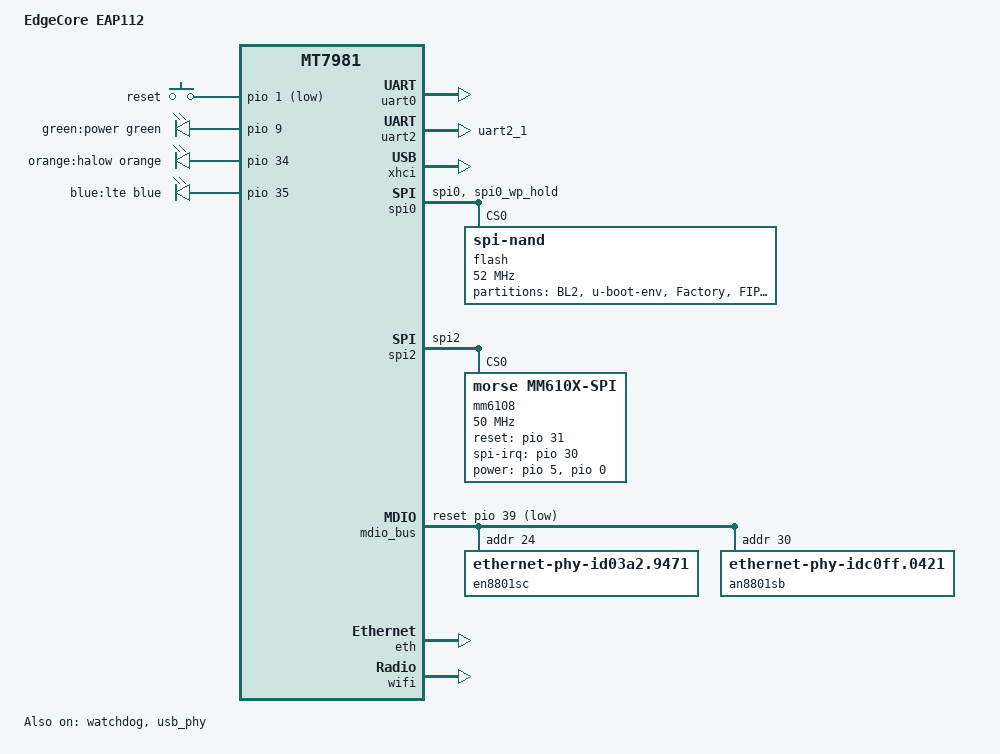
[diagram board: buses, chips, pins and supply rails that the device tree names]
// SPDX-License-Identifier: GPL-2.0-or-later OR MIT

/dts-v1/;

#include <dt-bindings/leds/common.h>
#include "mt7981.dtsi"

/ {
	model = "EdgeCore EAP112";
	compatible = "edgecore,eap112", "mediatek,mt7981";

	aliases {
		serial0 = &uart0;
		led-boot = &led_green;
		led-failsafe = &led_green;
		led-running = &led_green;
		led-upgrade = &led_green;
		label-mac-device = &gmac1;
	};

	chosen {
		stdout-path = "serial0:115200n8";
	};

	gpio-keys {
		compatible = "gpio-keys";

		reset {
			label = "reset";
			linux,code = <KEY_RESTART>;
			gpios = <&pio 1 GPIO_ACTIVE_LOW>;
		};
	};

	leds {
		compatible = "gpio-leds";

		led_green: led-green {
			label = "green:power";
			gpios = <&pio 9 GPIO_ACTIVE_HIGH>;
			color = <LED_COLOR_ID_GREEN>;
			function = LED_FUNCTION_INDICATOR;
		};

		led_orange: led-orange {
			label = "orange:halow";
			gpios = <&pio 34 GPIO_ACTIVE_HIGH>;
			color = <LED_COLOR_ID_ORANGE>;
			function = LED_FUNCTION_INDICATOR;
		};

		led_blue: led-blue {
			label = "blue:lte";
			gpios = <&pio 35 GPIO_ACTIVE_HIGH>;
			color = <LED_COLOR_ID_BLUE>;
			function = LED_FUNCTION_INDICATOR;
		};
	};
};

&uart0 {
	status = "okay";
};

&uart2 {
	pinctrl-names = "default";
	pinctrl-0 = <&uart2_pins>;
	status = "okay";
};

&watchdog {
	status = "okay";
};

/* LTE modem on the SoC USB port. mt7981.dtsi leaves the PHY and the xHCI
 * controller disabled. The modem power and reset lines are driven from
 * userspace (board.d/03_gpio_switches).
 */
&usb_phy {
	status = "okay";
};

&xhci {
	status = "okay";
};

&pio {
	spi0_flash_pins: spi0-pins {
		mux {
			function = "spi";
			groups = "spi0", "spi0_wp_hold";
		};
	};

	/* Only CS/CLK/MOSI/MISO (GPIO 26-29) go to SPI2; GPIO 30 and 31 are the
	 * MM6108 interrupt and reset lines, so "spi2_wp_hold" is not selected.
	 */
	spi2_pins: spi2-pins {
		mux {
			function = "spi";
			groups = "spi2";
		};
	};

	uart2_pins: uart2-pins {
		mux {
			function = "uart";
			groups = "uart2_1";
		};
	};
};

&spi0 {
	pinctrl-names = "default";
	pinctrl-0 = <&spi0_flash_pins>;
	cs-gpios = <0>, <0>;
	#address-cells = <1>;
	#size-cells = <0>;
	status = "okay";

	flash@0 {
		#address-cells = <1>;
		#size-cells = <1>;
		compatible = "spi-nand";
		reg = <0>;
		spi-max-frequency = <52000000>;

		spi-cal-enable;
		spi-cal-mode = "read-data";
		spi-cal-datalen = <7>;
		spi-cal-data = /bits/ 8 <0x53 0x50 0x49 0x4E 0x41 0x4E 0x44>;
		spi-cal-addrlen = <5>;
		spi-cal-addr = /bits/ 32 <0x0 0x0 0x0 0x0 0x0>;

		spi-tx-bus-width = <4>;
		spi-rx-bus-width = <4>;
		mediatek,nmbm;
		mediatek,bmt-max-ratio = <1>;
		mediatek,bmt-max-reserved-blocks = <64>;

		/* Same layout as the kernel 5.4 image, so either kernel can write the
		 * other's sysupgrade image. No "linux,ubi": U-Boot passes the slot to
		 * attach on the command line.
		 */
		partitions {
			compatible = "fixed-partitions";
			#address-cells = <1>;
			#size-cells = <1>;

			partition@0 {
				label = "BL2";
				reg = <0x00000 0x100000>;
				read-only;
			};

			partition@100000 {
				label = "u-boot-env";
				reg = <0x100000 0x80000>;
			};

			partition@180000 {
				label = "Factory";
				reg = <0x180000 0x200000>;
				read-only;

				nvmem-layout {
					compatible = "fixed-layout";
					#address-cells = <1>;
					#size-cells = <1>;

					eeprom_factory: eeprom@0 {
						reg = <0x0 0x1000>;
					};

					macaddr_wan: macaddr@2a {
						reg = <0x2a 0x6>;
					};

					macaddr_lan: macaddr@24 {
						reg = <0x24 0x6>;
					};
				};
			};

			partition@380000 {
				label = "FIP";
				reg = <0x380000 0x200000>;
				read-only;
			};

			partition@580000 {
				label = "rootfs1";
				reg = <0x580000 0x4000000>;
			};

			partition@4580000 {
				label = "rootfs2";
				reg = <0x4580000 0x4000000>;
			};
		};
	};
};

/* Morse Micro MM6108 (Wi-Fi HaLow). The driver only registers an spi_driver,
 * so this node is what creates the device, and probe fails without
 * reset-gpios and spi-irq-gpios. 50 MHz is the highest SPI clock the
 * mm6108-2.0.1 driver accepts; it clips anything above with a warning.
 */
&spi2 {
	pinctrl-names = "default";
	pinctrl-0 = <&spi2_pins>;
	status = "okay";

	mm6108: mm6108@0 {
		compatible = "morse,mm610x-spi";
		reg = <0>;
		spi-max-frequency = <50000000>;
		spi-tx-bus-width = <1>;
		spi-rx-bus-width = <1>;
		reset-gpios = <&pio 31 GPIO_ACTIVE_HIGH>;
		spi-irq-gpios = <&pio 30 GPIO_ACTIVE_HIGH>;
		power-gpios = <&pio 5 GPIO_ACTIVE_HIGH>, <&pio 0 GPIO_ACTIVE_HIGH>;
		status = "okay";
	};
};

&mdio_bus {
	reset-gpios = <&pio 39 GPIO_ACTIVE_LOW>;
	reset-delay-us = <10000>;
	reset-post-delay-us = <10000>;

	en8801sc: ethernet-phy@24 {
		reg = <24>;
		compatible = "ethernet-phy-id03a2.9471";
		phy-mode = "sgmii";
	};

	an8801sb: ethernet-phy@30 {
		reg = <30>;
		compatible = "ethernet-phy-idc0ff.0421";
		phy-mode = "sgmii";
		full-duplex;
		pause;
		airoha,surge = <0>;
		airoha,polarity = <2>;
	};
};

&eth {
	pinctrl-names = "default";
	pinctrl-0 = <&mdio_pins>;
	status = "okay";

	gmac0: mac@0 {
		compatible = "mediatek,eth-mac";
		reg = <0>;
		phy-mode = "sgmii";
		phy-handle = <&an8801sb>;
		phy-handle2 = <&en8801sc>;
		managed = "in-band-status";
		nvmem-cells = <&macaddr_lan>;
		nvmem-cell-names = "mac-address";
	};

	gmac1: mac@1 {
		compatible = "mediatek,eth-mac";
		reg = <1>;
		phy-mode = "gmii";
		phy-handle = <&int_gbe_phy>;
		nvmem-cells = <&macaddr_wan>;
		nvmem-cell-names = "mac-address";
	};
};

&wifi {
	nvmem-cells = <&eeprom_factory>;
	nvmem-cell-names = "eeprom";
	status = "okay";
};
